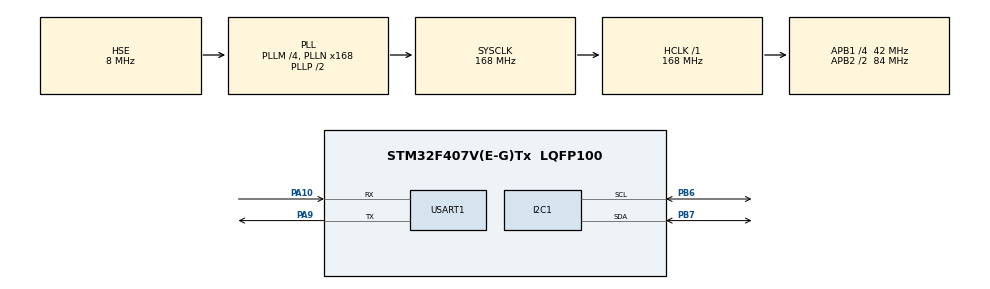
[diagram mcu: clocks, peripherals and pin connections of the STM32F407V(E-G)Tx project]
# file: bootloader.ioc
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Dma.I2C1_RX.0.Direction=DMA_PERIPH_TO_MEMORY
Dma.I2C1_RX.0.FIFOMode=DMA_FIFOMODE_DISABLE
Dma.I2C1_RX.0.Instance=DMA1_Stream0
Dma.I2C1_RX.0.MemDataAlignment=DMA_MDATAALIGN_BYTE
Dma.I2C1_RX.0.MemInc=DMA_MINC_ENABLE
Dma.I2C1_RX.0.Mode=DMA_NORMAL
Dma.I2C1_RX.0.PeriphDataAlignment=DMA_PDATAALIGN_BYTE
Dma.I2C1_RX.0.PeriphInc=DMA_PINC_DISABLE
Dma.I2C1_RX.0.Priority=DMA_PRIORITY_LOW
Dma.I2C1_TX.1.Direction=DMA_MEMORY_TO_PERIPH
Dma.I2C1_TX.1.FIFOMode=DMA_FIFOMODE_DISABLE
Dma.I2C1_TX.1.Instance=DMA1_Stream6
Dma.I2C1_TX.1.MemDataAlignment=DMA_MDATAALIGN_BYTE
Dma.I2C1_TX.1.MemInc=DMA_MINC_ENABLE
Dma.I2C1_TX.1.Mode=DMA_NORMAL
Dma.I2C1_TX.1.PeriphDataAlignment=DMA_PDATAALIGN_BYTE
Dma.I2C1_TX.1.PeriphInc=DMA_PINC_DISABLE
Dma.I2C1_TX.1.Priority=DMA_PRIORITY_LOW
Dma.Request0=I2C1_RX
Dma.Request1=I2C1_TX
I2C1.DualAddressMode=I2C_DUALADDRESS_DISABLE
I2C1.GeneralCallMode=I2C_GENERALCALL_DISABLE
I2C1.OwnAddress=0x66
Mcu.Family=STM32F4
Mcu.Name=STM32F407V(E-G)Tx
Mcu.Package=LQFP100
NVIC.DMA1_Stream0_IRQn=true\:0\:0\:false\:false\:true\:false\:true\:true
NVIC.DMA1_Stream6_IRQn=true\:0\:0\:false\:false\:true\:false\:true\:true
NVIC.I2C1_ER_IRQn=true\:0\:0\:false\:false\:true\:true\:true\:true
NVIC.I2C1_EV_IRQn=true\:0\:0\:false\:false\:true\:true\:true\:true
NVIC.PriorityGroup=NVIC_PRIORITYGROUP_4
PA10.GPIO_PuPd=GPIO_PULLUP
PA10.Mode=Asynchronous
PA10.Signal=USART1_RX
PA13.Mode=Serial_Wire
PA13.Signal=SYS_JTMS-SWDIO
PA14.Mode=Serial_Wire
PA14.Signal=SYS_JTCK-SWCLK
PA9.GPIO_PuPd=GPIO_PULLUP
PA9.Mode=Asynchronous
PA9.Signal=USART1_TX
PB6.Mode=I2C
PB6.Signal=I2C1_SCL
PB7.Mode=I2C
PB7.Signal=I2C1_SDA
PC14-OSC32_IN.Mode=LSE-External-Oscillator
PC14-OSC32_IN.Signal=RCC_OSC32_IN
PC15-OSC32_OUT.Mode=LSE-External-Oscillator
PC15-OSC32_OUT.Signal=RCC_OSC32_OUT
PH0-OSC_IN.Mode=HSE-External-Oscillator
PH0-OSC_IN.Signal=RCC_OSC_IN
PH1-OSC_OUT.Mode=HSE-External-Oscillator
PH1-OSC_OUT.Signal=RCC_OSC_OUT
ProjectManager.HeapSize=0x200
ProjectManager.StackSize=0x400
ProjectManager.TargetToolchain=MDK-ARM V5.32
RCC.48MHZClocksFreq_Value=48000000
RCC.AHBFreq_Value=168000000
RCC.APB1CLKDivider=RCC_HCLK_DIV4
RCC.APB1Freq_Value=42000000
RCC.APB1TimFreq_Value=84000000
RCC.APB2CLKDivider=RCC_HCLK_DIV2
RCC.APB2Freq_Value=84000000
RCC.APB2TimFreq_Value=168000000
RCC.CortexFreq_Value=168000000
RCC.HCLKFreq_Value=168000000
RCC.HSE_VALUE=8000000
RCC.HSI_VALUE=16000000
RCC.PLLM=4
RCC.PLLN=168
RCC.PLLQ=7
RCC.PLLSourceVirtual=RCC_PLLSOURCE_HSE
RCC.SYSCLKFreq_VALUE=168000000
RCC.SYSCLKSource=RCC_SYSCLKSOURCE_PLLCLK
RCC.VCOOutputFreq_Value=336000000
USART1.VirtualMode=VM_ASYNC
VP_CRC_VS_CRC.Mode=CRC_Activate
board=custom

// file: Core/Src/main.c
/* USER CODE BEGIN Header */
/**
  ******************************************************************************
  * @file           : main.c
  * @brief          : Main program body
  ******************************************************************************
  * @attention
  *
  * Copyright (c) 2025 STMicroelectronics.
  * All rights reserved.
  *
  * This software is licensed under terms that can be found in the LICENSE file
  * in the root directory of this software component.
  * If no LICENSE file comes with this software, it is provided AS-IS.
  *
  ******************************************************************************
  */
/* USER CODE END Header */
#include "main.h"
#include "crc.h"
#include "dma.h"
#include "i2c.h"
#include "usart.h"
#include "gpio.h"

/* USER CODE BEGIN Includes */
#include <cstdint>
#include <stdio.h>
#include "iap.h"

/* USER CODE END Includes */

void SystemClock_Config(void);

int main(void)
{

  /* MCU Configuration--------------------------------------------------------*/

  /* Reset of all peripherals, Initializes the Flash interface and the Systick. */
  HAL_Init();

  /* Configure the system clock */
  SystemClock_Config();

  /* Initialize all configured peripherals */
  MX_GPIO_Init();
  MX_DMA_Init();
  MX_USART1_UART_Init();
  MX_CRC_Init();
  MX_I2C1_Init();
  /* USER CODE BEGIN 2 */

  uint32_t data[2] = {0x12345678, 0x87654321};
  volatile uint32_t crc = 0;
  //适用于数据量不大，一次性处理完
  crc = HAL_CRC_Calculate(&hcrc, data, 2);
  printf("CRC Result: %08X\n", crc);
	//结果0xC15A147D

  //重置CRC的值
  crc = 0;

  //分两次进行CRC校验，适用于数据量大分批次传输进行校验
  crc = HAL_CRC_Calculate(&hcrc, data, 1);
  printf("CRC Temp  Result: %08X \n",crc);
	//结果0xDF8A8A2B
  crc = HAL_CRC_Accumulate(&hcrc, data + 1, 1);
  printf("CRC   Accumulate  Result: %08X\n", crc);
	//结果0xC15A147D

  uint8_t recriveBuffer[8] ;
  FLASH_EraseInitTypeDef FlashEraseInit;
  volatile uint32_t Sector_Error;
  FlashEraseInit.TypeErase = FLASH_TYPEERASE_SECTORS;

  FlashEraseInit.Sector = FLASH_SECTOR_5;
  FlashEraseInit.NbSectors = 1;
  FlashEraseInit.VoltageRange = FLASH_VOLTAGE_RANGE_3;

  uint8_t WriteBuffer[4] = {0x17, 0x34, 0x56, 0x78};
	uint32_t WriteBuffer32 = 0x12345678;
  HAL_FLASH_Unlock();
  HAL_FLASHEx_Erase(&FlashEraseInit,&Sector_Error);
  HAL_FLASH_Program(FLASH_TYPEPROGRAM_BYTE, 0x08020000, WriteBuffer[2]);
  HAL_FLASH_Lock();

	uint8_t *p = (uint8_t *)(0x08020000);

	printf("%x\n",*p);
  /* USER CODE END 2 */

  /* Infinite loop */
  /* USER CODE BEGIN WHILE */
  while (1)
  {

    //使用中断方式接收数据
    HAL_I2C_Slave_Receive_IT(&hi2c1, recriveBuffer, 8);

    //使用DMA方式接收数据
    HAL_I2C_Slave_Receive_DMA(&hi2c1, recriveBuffer, 8);

    //使用阻塞方式接收数据
    //HAL_I2C_Slave_Receive(&hi2c1, recriveBuffer, 8, HAL_MAX_DELAY);

    /* USER CODE END WHILE */

  }
}

void SystemClock_Config(void)
{
  RCC_OscInitTypeDef RCC_OscInitStruct = {0};
  RCC_ClkInitTypeDef RCC_ClkInitStruct = {0};

  /** Configure the main internal regulator output voltage
  */
  __HAL_RCC_PWR_CLK_ENABLE();
  __HAL_PWR_VOLTAGESCALING_CONFIG(PWR_REGULATOR_VOLTAGE_SCALE1);

  /** Initializes the RCC Oscillators according to the specified parameters
  * in the RCC_OscInitTypeDef structure.
  */
  RCC_OscInitStruct.OscillatorType = RCC_OSCILLATORTYPE_HSE;
  RCC_OscInitStruct.HSEState = RCC_HSE_ON;
  RCC_OscInitStruct.PLL.PLLState = RCC_PLL_ON;
  RCC_OscInitStruct.PLL.PLLSource = RCC_PLLSOURCE_HSE;
  RCC_OscInitStruct.PLL.PLLM = 4;
  RCC_OscInitStruct.PLL.PLLN = 168;
  RCC_OscInitStruct.PLL.PLLP = RCC_PLLP_DIV2;
  RCC_OscInitStruct.PLL.PLLQ = 7;
  if (HAL_RCC_OscConfig(&RCC_OscInitStruct) != HAL_OK)
  {
    Error_Handler();
  }

  /** Initializes the CPU, AHB and APB buses clocks
  */
  RCC_ClkInitStruct.ClockType = RCC_CLOCKTYPE_HCLK|RCC_CLOCKTYPE_SYSCLK
                              |RCC_CLOCKTYPE_PCLK1|RCC_CLOCKTYPE_PCLK2;
  RCC_ClkInitStruct.SYSCLKSource = RCC_SYSCLKSOURCE_PLLCLK;
  RCC_ClkInitStruct.AHBCLKDivider = RCC_SYSCLK_DIV1;
  RCC_ClkInitStruct.APB1CLKDivider = RCC_HCLK_DIV4;
  RCC_ClkInitStruct.APB2CLKDivider = RCC_HCLK_DIV2;

  if (HAL_RCC_ClockConfig(&RCC_ClkInitStruct, FLASH_LATENCY_5) != HAL_OK)
  {
    Error_Handler();
  }
}

/* USER CODE BEGIN 4 */
int fputc(int ch, FILE *f)
{
  HAL_UART_Transmit(&huart1, (uint8_t *)&ch, 1, HAL_MAX_DELAY);
  return ch;
}
/* USER CODE END 4 */

void Error_Handler(void)
{
  __disable_irq();
  while (1)
  {
  }
}
